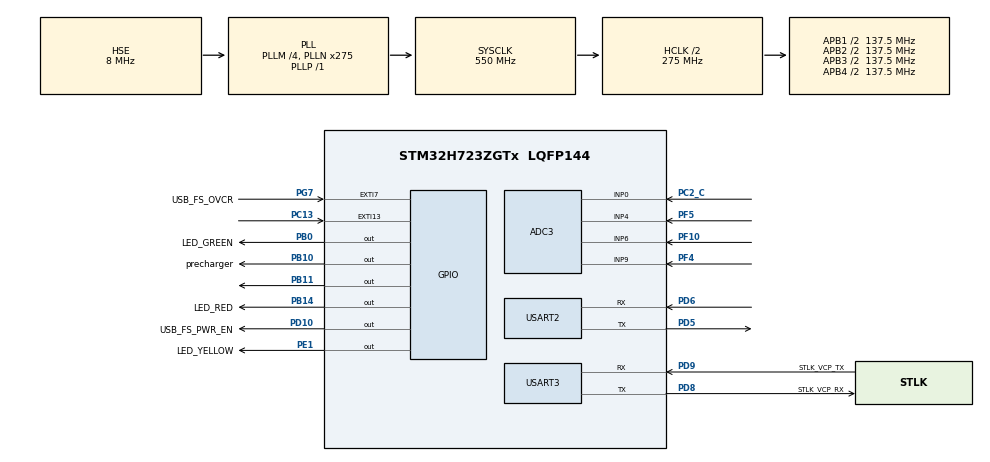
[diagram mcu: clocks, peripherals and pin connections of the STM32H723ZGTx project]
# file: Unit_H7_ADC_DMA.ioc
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ADC3.Channel-0\#ChannelRegularConversion=ADC_CHANNEL_6
ADC3.Channel-1\#ChannelRegularConversion=ADC_CHANNEL_0
ADC3.Channel-2\#ChannelRegularConversion=ADC_CHANNEL_9
ADC3.Channel-3\#ChannelRegularConversion=ADC_CHANNEL_4
ADC3.ContinuousConvMode=DISABLE
ADC3.EOCSelection=ADC_EOC_SEQ_CONV
ADC3.NbrOfConversion=4
ADC3.NbrOfConversionFlag=1
ADC3.OffsetNumber-0\#ChannelRegularConversion=ADC_OFFSET_NONE
ADC3.OffsetNumber-1\#ChannelRegularConversion=ADC_OFFSET_NONE
ADC3.OffsetNumber-2\#ChannelRegularConversion=ADC_OFFSET_NONE
ADC3.OffsetNumber-3\#ChannelRegularConversion=ADC_OFFSET_NONE
ADC3.OffsetSaturation-0\#ChannelRegularConversion=DISABLE
ADC3.OffsetSaturation-1\#ChannelRegularConversion=DISABLE
ADC3.OffsetSaturation-2\#ChannelRegularConversion=DISABLE
ADC3.OffsetSaturation-3\#ChannelRegularConversion=DISABLE
ADC3.OffsetSign-0\#ChannelRegularConversion=ADC3_OFFSET_SIGN_NEGATIVE
ADC3.OffsetSign-1\#ChannelRegularConversion=ADC3_OFFSET_SIGN_NEGATIVE
ADC3.OffsetSign-2\#ChannelRegularConversion=ADC3_OFFSET_SIGN_NEGATIVE
ADC3.OffsetSign-3\#ChannelRegularConversion=ADC3_OFFSET_SIGN_NEGATIVE
ADC3.OffsetSignedSaturation-0\#ChannelRegularConversion=DISABLE
ADC3.OffsetSignedSaturation-1\#ChannelRegularConversion=DISABLE
ADC3.OffsetSignedSaturation-2\#ChannelRegularConversion=DISABLE
ADC3.OffsetSignedSaturation-3\#ChannelRegularConversion=DISABLE
ADC3.Rank-0\#ChannelRegularConversion=1
ADC3.Rank-1\#ChannelRegularConversion=2
ADC3.Rank-2\#ChannelRegularConversion=3
ADC3.Rank-3\#ChannelRegularConversion=4
ADC3.SamplingTime-0\#ChannelRegularConversion=ADC3_SAMPLETIME_2CYCLES_5
ADC3.SamplingTime-1\#ChannelRegularConversion=ADC3_SAMPLETIME_2CYCLES_5
ADC3.SamplingTime-2\#ChannelRegularConversion=ADC3_SAMPLETIME_2CYCLES_5
ADC3.SamplingTime-3\#ChannelRegularConversion=ADC3_SAMPLETIME_2CYCLES_5
CORTEX_M7.CPU_DCache=Enabled
CORTEX_M7.CPU_ICache=Enabled
Dma.ADC3.0.Direction=DMA_PERIPH_TO_MEMORY
Dma.ADC3.0.EventEnable=DISABLE
Dma.ADC3.0.FIFOMode=DMA_FIFOMODE_DISABLE
Dma.ADC3.0.Instance=DMA1_Stream0
Dma.ADC3.0.MemDataAlignment=DMA_MDATAALIGN_WORD
Dma.ADC3.0.MemInc=DMA_MINC_ENABLE
Dma.ADC3.0.Mode=DMA_NORMAL
Dma.ADC3.0.PeriphDataAlignment=DMA_PDATAALIGN_WORD
Dma.ADC3.0.PeriphInc=DMA_PINC_DISABLE
Dma.ADC3.0.Polarity=HAL_DMAMUX_REQ_GEN_RISING
Dma.ADC3.0.Priority=DMA_PRIORITY_LOW
Dma.ADC3.0.RequestNumber=1
Dma.ADC3.0.SignalID=NONE
Dma.ADC3.0.SyncEnable=DISABLE
Dma.ADC3.0.SyncPolarity=HAL_DMAMUX_SYNC_NO_EVENT
Dma.ADC3.0.SyncRequestNumber=1
Dma.ADC3.0.SyncSignalID=NONE
Dma.Request0=ADC3
Mcu.Family=STM32H7
Mcu.Name=STM32H723ZGTx
Mcu.Package=LQFP144
NVIC.ADC3_IRQn=true\:0\:0\:false\:false\:true\:true\:true
NVIC.DMA1_Stream0_IRQn=true\:0\:0\:false\:false\:true\:false\:true
NVIC.EXTI15_10_IRQn=true\:0\:0\:false\:false\:true\:true\:true
NVIC.PriorityGroup=NVIC_PRIORITYGROUP_4
NVIC.TIM1_UP_IRQn=true\:0\:0\:false\:false\:true\:true\:true
NVIC.USART2_IRQn=true\:0\:0\:false\:false\:true\:true\:true
NVIC.USART3_IRQn=true\:0\:0\:false\:false\:true\:true\:true
PA13(JTMS/SWDIO).GPIO_Label=SWDIO
PA13(JTMS/SWDIO).Mode=Trace_Asynchronous_SW
PA13(JTMS/SWDIO).Signal=DEBUG_JTMS-SWDIO
PA14(JTCK/SWCLK).GPIO_Label=SWCLK
PA14(JTCK/SWCLK).Mode=Trace_Asynchronous_SW
PA14(JTCK/SWCLK).Signal=DEBUG_JTCK-SWCLK
PB0.GPIO_Label=LED_GREEN
PB0.Signal=GPIO_Output
PB10.GPIO_Label=precharger
PB10.GPIO_Speed=GPIO_SPEED_FREQ_HIGH
PB10.Signal=GPIO_Output
PB11.GPIO_Speed=GPIO_SPEED_FREQ_HIGH
PB11.Signal=GPIO_Output
PB14.GPIO_Label=LED_RED
PB14.Signal=GPIO_Output
PB3(JTDO/TRACESWO).GPIO_Label=SWO
PB3(JTDO/TRACESWO).Mode=Trace_Asynchronous_SW
PB3(JTDO/TRACESWO).Signal=DEBUG_JTDO-SWO
PC13.Signal=GPXTI13
PC14-OSC32_IN.Mode=LSE-External-Oscillator
PC14-OSC32_IN.Signal=RCC_OSC32_IN
PC15-OSC32_OUT.Mode=LSE-External-Oscillator
PC15-OSC32_OUT.Signal=RCC_OSC32_OUT
PC2_C.Mode=IN0-Single-Ended
PC2_C.Signal=ADC3_INP0
PD10.GPIO_Label=USB_FS_PWR_EN
PD10.Signal=GPIO_Output
PD5.Mode=Asynchronous
PD5.Signal=USART2_TX
PD6.Mode=Asynchronous
PD6.Signal=USART2_RX
PD8.GPIO_Label=STLK_VCP_RX
PD8.Mode=Asynchronous
PD8.Signal=USART3_TX
PD9.GPIO_Label=STLK_VCP_TX
PD9.Mode=Asynchronous
PD9.Signal=USART3_RX
PE1.GPIO_Label=LED_YELLOW
PE1.Signal=GPIO_Output
PF10.Mode=IN6-Single-Ended
PF10.Signal=ADC3_INP6
PF4.Mode=IN9-Single-Ended
PF4.Signal=ADC3_INP9
PF5.Mode=IN4-Single-Ended
PF5.Signal=ADC3_INP4
PG7.GPIO_Label=USB_FS_OVCR
PG7.Signal=GPXTI7
PH0-OSC_IN.GPIO_Label=MCO
PH0-OSC_IN.Mode=HSE-External-Clock-Source
PH0-OSC_IN.Signal=RCC_OSC_IN
ProjectManager.HeapSize=0x200
ProjectManager.StackSize=0x400
ProjectManager.TargetToolchain=STM32CubeIDE
RCC.ADCFreq_Value=160000000
RCC.APB1Freq_Value=137500000
RCC.APB2Freq_Value=137500000
RCC.APB3Freq_Value=137500000
RCC.APB4Freq_Value=137500000
RCC.CortexFreq_Value=550000000
RCC.D1PPRE=RCC_APB3_DIV2
RCC.D2PPRE1=RCC_APB1_DIV2
RCC.D2PPRE2=RCC_APB2_DIV2
RCC.D3PPRE=RCC_APB4_DIV2
RCC.DIVM1=4
RCC.DIVM2=1
RCC.DIVN1=275
RCC.DIVN2=40
RCC.DIVP1=1
RCC.DIVQ1=4
RCC.HCLKFreq_Value=275000000
RCC.HPRE=RCC_HCLK_DIV2
RCC.HSE_VALUE=8000000
RCC.PLL1_VCO_SEL-AdvancedSettings=RCC_PLL1VCOMEDIUM
RCC.PLL2_VCO_SEL-AdvancedSettings=RCC_PLL2VCOMEDIUM
RCC.PLLFRACN=0
RCC.PLLSourceVirtual=RCC_PLLSOURCE_HSE
RCC.SYSCLKFreq_VALUE=550000000
RCC.SYSCLKSource=RCC_SYSCLKSOURCE_PLLCLK
RCC.USBCLockSelection=RCC_USBCLKSOURCE_HSI48
RCC.USBFreq_Value=48000000
TIM1.Period=5500
TIM1.TIM_MasterOutputTrigger=TIM_TRGO_UPDATE
USART2.VirtualMode-Asynchronous=VM_ASYNC
USART3.VirtualMode-Asynchronous=VM_ASYNC
VP_TIM1_VS_ClockSourceINT.Mode=Internal
board=NUCLEO-H723ZG

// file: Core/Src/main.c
/* USER CODE BEGIN Header */
/**
  ******************************************************************************
  * @file           : main.c
  * @brief          : Main program body
  ******************************************************************************
  * @attention
  *
  * <h2><center>&copy; Copyright (c) 2021 STMicroelectronics.
  * All rights reserved.</center></h2>
  *
  * This software component is licensed by ST under BSD 3-Clause license,
  * the "License"; You may not use this file except in compliance with the
  * License. You may obtain a copy of the License at:
  *                        opensource.org/licenses/BSD-3-Clause
  *
  ******************************************************************************
  */
/* USER CODE END Header */
#include "main.h"

/* USER CODE BEGIN Includes */
#include "stdbool.h"
#include "string.h"
#include "stdlib.h"
/* USER CODE END Includes */

ADC_HandleTypeDef hadc3;
DMA_HandleTypeDef hdma_adc3;

TIM_HandleTypeDef htim1;

UART_HandleTypeDef huart2;
UART_HandleTypeDef huart3;

/* USER CODE BEGIN PV */
/* adc variables */
uint32_t adc[4] = {0};
volatile bool start_adc_transfer = false;
volatile bool adc_transfer_completed = false;
volatile bool send_uart = true;

/* floating point for calculations */
float dc_spanning 	= 0.0;
float dc_stroom 	= 0.0;
float ac_spanning 	= 0.0;
float ac_stroom 	= 0.0;

/* uart stuff */
char str[50] = {0};
char adc_str[4][8] = {0};
char adc0[5] = "";
char adc1[5] = "";
char adc2[5] = "";
char adc3[5] = "";
/* USER CODE END PV */

void SystemClock_Config(void);
static void MX_GPIO_Init(void);
static void MX_USART3_UART_Init(void);
static void MX_DMA_Init(void);
static void MX_ADC3_Init(void);
static void MX_TIM1_Init(void);
static void MX_USART2_UART_Init(void);

/* USER CODE BEGIN 0 */

/* isr with booleans for flow control */
void HAL_TIM_PeriodElapsedCallback(TIM_HandleTypeDef *htim)
{
	start_adc_transfer = true;
}
void HAL_ADC_ConvCpltCallback(ADC_HandleTypeDef *hadc)
{
	adc_transfer_completed = true;
}
void HAL_GPIO_EXTI_Callback(uint16_t GPIO_Pin)
{
	//HAL_GPIO_WritePin(GPIOB, precharger_Pin, GPIO_PIN_SET);
	//HAL_GPIO_WritePin(GPIOB, precharger_Pin, GPIO_PIN_RESET);
	//precharger
}
void HAL_UART_TxCpltCallback(UART_HandleTypeDef *huart)
{
	send_uart = true;
}
/* USER CODE END 0 */

int main(void)
{

  /* Enable I-Cache---------------------------------------------------------*/
  SCB_EnableICache();

  /* Enable D-Cache---------------------------------------------------------*/
  SCB_EnableDCache();

  /* MCU Configuration--------------------------------------------------------*/

  /* Reset of all peripherals, Initializes the Flash interface and the Systick. */
  HAL_Init();

  /* Configure the system clock */
  SystemClock_Config();

  /* Initialize all configured peripherals */
  MX_GPIO_Init();
  MX_USART3_UART_Init();
  MX_DMA_Init();
  MX_ADC3_Init();
  MX_TIM1_Init();
  MX_USART2_UART_Init();
  /* USER CODE BEGIN 2 */
  HAL_TIM_Base_Start_IT(&htim1);
  /* USER CODE END 2 */

  /* Infinite loop */
  /* USER CODE BEGIN WHILE */
  while (1)
  {
	  if(start_adc_transfer)
	  {
		  HAL_GPIO_WritePin(GPIOB, GPIO_PIN_11, GPIO_PIN_SET);

		  /* start adc transfer */
		  HAL_ADC_Start_DMA(&hadc3, adc, 4);

		  start_adc_transfer = false;
	  }
	  if(adc_transfer_completed)
	  {
		  /* D-cache for reading */
		  SCB_InvalidateDCache_by_Addr(adc, 4);

		  /* reuben & simon sensor calculations */
		  /* !!!! ZET HIER welke pinnen voor welke signaal is.
		   * PC2 A4 DC stroom
		   * */

		  dc_spanning 	= adc[0] / 2; //

		  ac_spanning 	= adc[2] / 2;
		  ac_stroom 	= adc[3] / 2;

		  //0.0084x - 19.521

		  //reuben
		  dc_stroom		= (0.0084 * (float)(adc[1])) - 19.521; //20

		  //mario spanning meter
		  dc_stroom		= 0.00080566 * (float)(adc[1]);
		  //dc_stroom	 	= dc_stroom / 0.0485437;
		  //dc_stroom 	= (((8055081.0 * adc[1]) - 16872270820.0) / 1000000000.0); //adc[3] / 2; //DC stroom

		  //float fv = (((8055081 * adc_memory[0]) - 16872270820)/1000000000) * 100;
		  adc_transfer_completed = false;

		  HAL_GPIO_WritePin(GPIOB, GPIO_PIN_11, GPIO_PIN_RESET);

		  /* tijd: 3us */
		  /*
		   * manier 1: stukjes code opsplitsen met een boolean als semaphore.
		   * dan wordt bijvoorbeeld sectie 1 van de code in de eerste cycle gedaan
		   * en sectie 2 bij de volgende cycle
		   * wanneer de uart vestuurd wordt zijn er dan 10 cycles voorbij
		   *
		   * */
		  if(send_uart)
		  {
			  HAL_GPIO_WritePin(GPIOB, GPIO_PIN_11, GPIO_PIN_SET);

			  memset(str,0,strlen(str));

			  /* floating point to string */
			  int32_t adc_temp[4] = {0};
			  adc_temp[0] 	= (int32_t)(dc_spanning 	* 100);
			  adc_temp[1]  	= (int32_t)(dc_stroom 		* 100);
			  adc_temp[2]  	= (int32_t)(ac_spanning 	* 100);
			  adc_temp[3] 	= (int32_t)(ac_stroom);

			  /*
			  uint16_t str_length = 0;
			  for(size_t i = 0; i < 4; i++)
			  {
				  itoa(adc[3], adc_str[i], 10);
				  //str_length = strlen((char *)adc_str[i]);
				  //memcpy(&adc_str[i][str_length-1], &adc_str[i][str_length-2], 2);
				  //adc_str[i][str_length-2] = '.';
			  }
				*/
			  /*
			  strcpy(str, adc_str[0]);
			  strcat(str, ",");
			  strcat(str, adc_str[1]);
			  strcat(str, ",");
			  strcat(str, adc_str[2]);
			  strcat(str, ",");
			  */
			  itoa(adc[1], adc_str[1], 10); //SIMON, REUBEN: je kan "adc[1]" veranderen naar "adc[2]" om andere waardes te versturen
			  strcpy(str, adc_str[1]);
			  strcat(str, "\r\n");

			  send_uart = false;
			  HAL_UART_Transmit_IT(&huart3, (uint8_t *)str, strlen(str));
			  HAL_GPIO_WritePin(GPIOB, GPIO_PIN_11, GPIO_PIN_RESET);
		  }
	  }

    /* USER CODE END WHILE */

  }
}

void SystemClock_Config(void)
{
  RCC_OscInitTypeDef RCC_OscInitStruct = {0};
  RCC_ClkInitTypeDef RCC_ClkInitStruct = {0};

  /** Supply configuration update enable
  */
  HAL_PWREx_ConfigSupply(PWR_LDO_SUPPLY);
  /** Configure the main internal regulator output voltage
  */
  __HAL_PWR_VOLTAGESCALING_CONFIG(PWR_REGULATOR_VOLTAGE_SCALE0);

  while(!__HAL_PWR_GET_FLAG(PWR_FLAG_VOSRDY)) {}
  /** Macro to configure the PLL clock source
  */
  __HAL_RCC_PLL_PLLSOURCE_CONFIG(RCC_PLLSOURCE_HSE);
  /** Initializes the RCC Oscillators according to the specified parameters
  * in the RCC_OscInitTypeDef structure.
  */
  RCC_OscInitStruct.OscillatorType = RCC_OSCILLATORTYPE_HSE;
  RCC_OscInitStruct.HSEState = RCC_HSE_BYPASS;
  RCC_OscInitStruct.PLL.PLLState = RCC_PLL_ON;
  RCC_OscInitStruct.PLL.PLLSource = RCC_PLLSOURCE_HSE;
  RCC_OscInitStruct.PLL.PLLM = 4;
  RCC_OscInitStruct.PLL.PLLN = 275;
  RCC_OscInitStruct.PLL.PLLP = 1;
  RCC_OscInitStruct.PLL.PLLQ = 4;
  RCC_OscInitStruct.PLL.PLLR = 2;
  RCC_OscInitStruct.PLL.PLLRGE = RCC_PLL1VCIRANGE_1;
  RCC_OscInitStruct.PLL.PLLVCOSEL = RCC_PLL1VCOWIDE;
  RCC_OscInitStruct.PLL.PLLFRACN = 0;
  if (HAL_RCC_OscConfig(&RCC_OscInitStruct) != HAL_OK)
  {
    Error_Handler();
  }
  /** Initializes the CPU, AHB and APB buses clocks
  */
  RCC_ClkInitStruct.ClockType = RCC_CLOCKTYPE_HCLK|RCC_CLOCKTYPE_SYSCLK
                              |RCC_CLOCKTYPE_PCLK1|RCC_CLOCKTYPE_PCLK2
                              |RCC_CLOCKTYPE_D3PCLK1|RCC_CLOCKTYPE_D1PCLK1;
  RCC_ClkInitStruct.SYSCLKSource = RCC_SYSCLKSOURCE_PLLCLK;
  RCC_ClkInitStruct.SYSCLKDivider = RCC_SYSCLK_DIV1;
  RCC_ClkInitStruct.AHBCLKDivider = RCC_HCLK_DIV2;
  RCC_ClkInitStruct.APB3CLKDivider = RCC_APB3_DIV2;
  RCC_ClkInitStruct.APB1CLKDivider = RCC_APB1_DIV2;
  RCC_ClkInitStruct.APB2CLKDivider = RCC_APB2_DIV2;
  RCC_ClkInitStruct.APB4CLKDivider = RCC_APB4_DIV2;

  if (HAL_RCC_ClockConfig(&RCC_ClkInitStruct, FLASH_LATENCY_3) != HAL_OK)
  {
    Error_Handler();
  }
}

static void MX_ADC3_Init(void)
{

  ADC_ChannelConfTypeDef sConfig = {0};

  /** Common config
  */
  hadc3.Instance = ADC3;
  hadc3.Init.ClockPrescaler = ADC_CLOCK_ASYNC_DIV1;
  hadc3.Init.Resolution = ADC_RESOLUTION_12B;
  hadc3.Init.DataAlign = ADC3_DATAALIGN_RIGHT;
  hadc3.Init.ScanConvMode = ADC_SCAN_ENABLE;
  hadc3.Init.EOCSelection = ADC_EOC_SEQ_CONV;
  hadc3.Init.LowPowerAutoWait = DISABLE;
  hadc3.Init.ContinuousConvMode = DISABLE;
  hadc3.Init.NbrOfConversion = 4;
  hadc3.Init.DiscontinuousConvMode = DISABLE;
  hadc3.Init.ExternalTrigConv = ADC_SOFTWARE_START;
  hadc3.Init.ExternalTrigConvEdge = ADC_EXTERNALTRIGCONVEDGE_NONE;
  hadc3.Init.DMAContinuousRequests = DISABLE;
  hadc3.Init.SamplingMode = ADC_SAMPLING_MODE_NORMAL;
  hadc3.Init.ConversionDataManagement = ADC_CONVERSIONDATA_DR;
  hadc3.Init.Overrun = ADC_OVR_DATA_PRESERVED;
  hadc3.Init.LeftBitShift = ADC_LEFTBITSHIFT_NONE;
  hadc3.Init.OversamplingMode = DISABLE;
  if (HAL_ADC_Init(&hadc3) != HAL_OK)
  {
    Error_Handler();
  }
  /** Configure Regular Channel
  */
  sConfig.Channel = ADC_CHANNEL_6;
  sConfig.Rank = ADC_REGULAR_RANK_1;
  sConfig.SamplingTime = ADC3_SAMPLETIME_2CYCLES_5;
  sConfig.SingleDiff = ADC_SINGLE_ENDED;
  sConfig.OffsetNumber = ADC_OFFSET_NONE;
  sConfig.Offset = 0;
  sConfig.OffsetSignedSaturation = DISABLE;
  sConfig.OffsetSign = ADC3_OFFSET_SIGN_NEGATIVE;
  sConfig.OffsetSaturation = DISABLE;
  if (HAL_ADC_ConfigChannel(&hadc3, &sConfig) != HAL_OK)
  {
    Error_Handler();
  }
  /** Configure Regular Channel
  */
  sConfig.Channel = ADC_CHANNEL_0;
  sConfig.Rank = ADC_REGULAR_RANK_2;
  if (HAL_ADC_ConfigChannel(&hadc3, &sConfig) != HAL_OK)
  {
    Error_Handler();
  }
  /** Configure Regular Channel
  */
  sConfig.Channel = ADC_CHANNEL_9;
  sConfig.Rank = ADC_REGULAR_RANK_3;
  if (HAL_ADC_ConfigChannel(&hadc3, &sConfig) != HAL_OK)
  {
    Error_Handler();
  }
  /** Configure Regular Channel
  */
  sConfig.Channel = ADC_CHANNEL_4;
  sConfig.Rank = ADC_REGULAR_RANK_4;
  if (HAL_ADC_ConfigChannel(&hadc3, &sConfig) != HAL_OK)
  {
    Error_Handler();
  }

}

static void MX_TIM1_Init(void)
{

  TIM_ClockConfigTypeDef sClockSourceConfig = {0};
  TIM_MasterConfigTypeDef sMasterConfig = {0};

  htim1.Instance = TIM1;
  htim1.Init.Prescaler = 0;
  htim1.Init.CounterMode = TIM_COUNTERMODE_UP;
  htim1.Init.Period = 5500;
  htim1.Init.ClockDivision = TIM_CLOCKDIVISION_DIV1;
  htim1.Init.RepetitionCounter = 0;
  htim1.Init.AutoReloadPreload = TIM_AUTORELOAD_PRELOAD_DISABLE;
  if (HAL_TIM_Base_Init(&htim1) != HAL_OK)
  {
    Error_Handler();
  }
  sClockSourceConfig.ClockSource = TIM_CLOCKSOURCE_INTERNAL;
  if (HAL_TIM_ConfigClockSource(&htim1, &sClockSourceConfig) != HAL_OK)
  {
    Error_Handler();
  }
  sMasterConfig.MasterOutputTrigger = TIM_TRGO_UPDATE;
  sMasterConfig.MasterOutputTrigger2 = TIM_TRGO2_RESET;
  sMasterConfig.MasterSlaveMode = TIM_MASTERSLAVEMODE_DISABLE;
  if (HAL_TIMEx_MasterConfigSynchronization(&htim1, &sMasterConfig) != HAL_OK)
  {
    Error_Handler();
  }

}

static void MX_USART2_UART_Init(void)
{

  huart2.Instance = USART2;
  huart2.Init.BaudRate = 115200;
  huart2.Init.WordLength = UART_WORDLENGTH_8B;
  huart2.Init.StopBits = UART_STOPBITS_1;
  huart2.Init.Parity = UART_PARITY_NONE;
  huart2.Init.Mode = UART_MODE_TX_RX;
  huart2.Init.HwFlowCtl = UART_HWCONTROL_NONE;
  huart2.Init.OverSampling = UART_OVERSAMPLING_16;
  huart2.Init.OneBitSampling = UART_ONE_BIT_SAMPLE_DISABLE;
  huart2.Init.ClockPrescaler = UART_PRESCALER_DIV1;
  huart2.AdvancedInit.AdvFeatureInit = UART_ADVFEATURE_NO_INIT;
  if (HAL_UART_Init(&huart2) != HAL_OK)
  {
    Error_Handler();
  }
  if (HAL_UARTEx_SetTxFifoThreshold(&huart2, UART_TXFIFO_THRESHOLD_1_8) != HAL_OK)
  {
    Error_Handler();
  }
  if (HAL_UARTEx_SetRxFifoThreshold(&huart2, UART_RXFIFO_THRESHOLD_1_8) != HAL_OK)
  {
    Error_Handler();
  }
  if (HAL_UARTEx_DisableFifoMode(&huart2) != HAL_OK)
  {
    Error_Handler();
  }

}

static void MX_USART3_UART_Init(void)
{

  huart3.Instance = USART3;
  huart3.Init.BaudRate = 115200;
  huart3.Init.WordLength = UART_WORDLENGTH_8B;
  huart3.Init.StopBits = UART_STOPBITS_1;
  huart3.Init.Parity = UART_PARITY_NONE;
  huart3.Init.Mode = UART_MODE_TX_RX;
  huart3.Init.HwFlowCtl = UART_HWCONTROL_NONE;
  huart3.Init.OverSampling = UART_OVERSAMPLING_16;
  huart3.Init.OneBitSampling = UART_ONE_BIT_SAMPLE_DISABLE;
  huart3.Init.ClockPrescaler = UART_PRESCALER_DIV1;
  huart3.AdvancedInit.AdvFeatureInit = UART_ADVFEATURE_NO_INIT;
  if (HAL_UART_Init(&huart3) != HAL_OK)
  {
    Error_Handler();
  }
  if (HAL_UARTEx_SetTxFifoThreshold(&huart3, UART_TXFIFO_THRESHOLD_1_8) != HAL_OK)
  {
    Error_Handler();
  }
  if (HAL_UARTEx_SetRxFifoThreshold(&huart3, UART_RXFIFO_THRESHOLD_1_8) != HAL_OK)
  {
    Error_Handler();
  }
  if (HAL_UARTEx_DisableFifoMode(&huart3) != HAL_OK)
  {
    Error_Handler();
  }

}

static void MX_DMA_Init(void)
{

  /* DMA controller clock enable */
  __HAL_RCC_DMA1_CLK_ENABLE();

  /* DMA interrupt init */
  /* DMA1_Stream0_IRQn interrupt configuration */
  HAL_NVIC_SetPriority(DMA1_Stream0_IRQn, 0, 0);
  HAL_NVIC_EnableIRQ(DMA1_Stream0_IRQn);

}

static void MX_GPIO_Init(void)
{
  GPIO_InitTypeDef GPIO_InitStruct = {0};

  /* GPIO Ports Clock Enable */
  __HAL_RCC_GPIOC_CLK_ENABLE();
  __HAL_RCC_GPIOF_CLK_ENABLE();
  __HAL_RCC_GPIOH_CLK_ENABLE();
  __HAL_RCC_GPIOB_CLK_ENABLE();
  __HAL_RCC_GPIOD_CLK_ENABLE();
  __HAL_RCC_GPIOG_CLK_ENABLE();
  __HAL_RCC_GPIOA_CLK_ENABLE();
  __HAL_RCC_GPIOE_CLK_ENABLE();

  /*Configure GPIO pin Output Level */
  HAL_GPIO_WritePin(GPIOB, LED_GREEN_Pin|precharger_Pin|GPIO_PIN_11|LED_RED_Pin, GPIO_PIN_RESET);

  /*Configure GPIO pin Output Level */
  HAL_GPIO_WritePin(USB_FS_PWR_EN_GPIO_Port, USB_FS_PWR_EN_Pin, GPIO_PIN_RESET);

  /*Configure GPIO pin Output Level */
  HAL_GPIO_WritePin(LED_YELLOW_GPIO_Port, LED_YELLOW_Pin, GPIO_PIN_RESET);

  /*Configure GPIO pin : PC13 */
  GPIO_InitStruct.Pin = GPIO_PIN_13;
  GPIO_InitStruct.Mode = GPIO_MODE_IT_RISING;
  GPIO_InitStruct.Pull = GPIO_NOPULL;
  HAL_GPIO_Init(GPIOC, &GPIO_InitStruct);

  /*Configure GPIO pins : LED_GREEN_Pin LED_RED_Pin */
  GPIO_InitStruct.Pin = LED_GREEN_Pin|LED_RED_Pin;
  GPIO_InitStruct.Mode = GPIO_MODE_OUTPUT_PP;
  GPIO_InitStruct.Pull = GPIO_NOPULL;
  GPIO_InitStruct.Speed = GPIO_SPEED_FREQ_LOW;
  HAL_GPIO_Init(GPIOB, &GPIO_InitStruct);

  /*Configure GPIO pins : precharger_Pin PB11 */
  GPIO_InitStruct.Pin = precharger_Pin|GPIO_PIN_11;
  GPIO_InitStruct.Mode = GPIO_MODE_OUTPUT_PP;
  GPIO_InitStruct.Pull = GPIO_NOPULL;
  GPIO_InitStruct.Speed = GPIO_SPEED_FREQ_HIGH;
  HAL_GPIO_Init(GPIOB, &GPIO_InitStruct);

  /*Configure GPIO pin : USB_FS_PWR_EN_Pin */
  GPIO_InitStruct.Pin = USB_FS_PWR_EN_Pin;
  GPIO_InitStruct.Mode = GPIO_MODE_OUTPUT_PP;
  GPIO_InitStruct.Pull = GPIO_NOPULL;
  GPIO_InitStruct.Speed = GPIO_SPEED_FREQ_LOW;
  HAL_GPIO_Init(USB_FS_PWR_EN_GPIO_Port, &GPIO_InitStruct);

  /*Configure GPIO pin : USB_FS_OVCR_Pin */
  GPIO_InitStruct.Pin = USB_FS_OVCR_Pin;
  GPIO_InitStruct.Mode = GPIO_MODE_IT_RISING;
  GPIO_InitStruct.Pull = GPIO_NOPULL;
  HAL_GPIO_Init(USB_FS_OVCR_GPIO_Port, &GPIO_InitStruct);

  /*Configure GPIO pin : LED_YELLOW_Pin */
  GPIO_InitStruct.Pin = LED_YELLOW_Pin;
  GPIO_InitStruct.Mode = GPIO_MODE_OUTPUT_PP;
  GPIO_InitStruct.Pull = GPIO_NOPULL;
  GPIO_InitStruct.Speed = GPIO_SPEED_FREQ_LOW;
  HAL_GPIO_Init(LED_YELLOW_GPIO_Port, &GPIO_InitStruct);

  /* EXTI interrupt init*/
  HAL_NVIC_SetPriority(EXTI15_10_IRQn, 0, 0);
  HAL_NVIC_EnableIRQ(EXTI15_10_IRQn);

}

void Error_Handler(void)
{
  __disable_irq();
  while (1)
  {
  }
}

/************************ (C) COPYRIGHT STMicroelectronics *****END OF FILE****/
